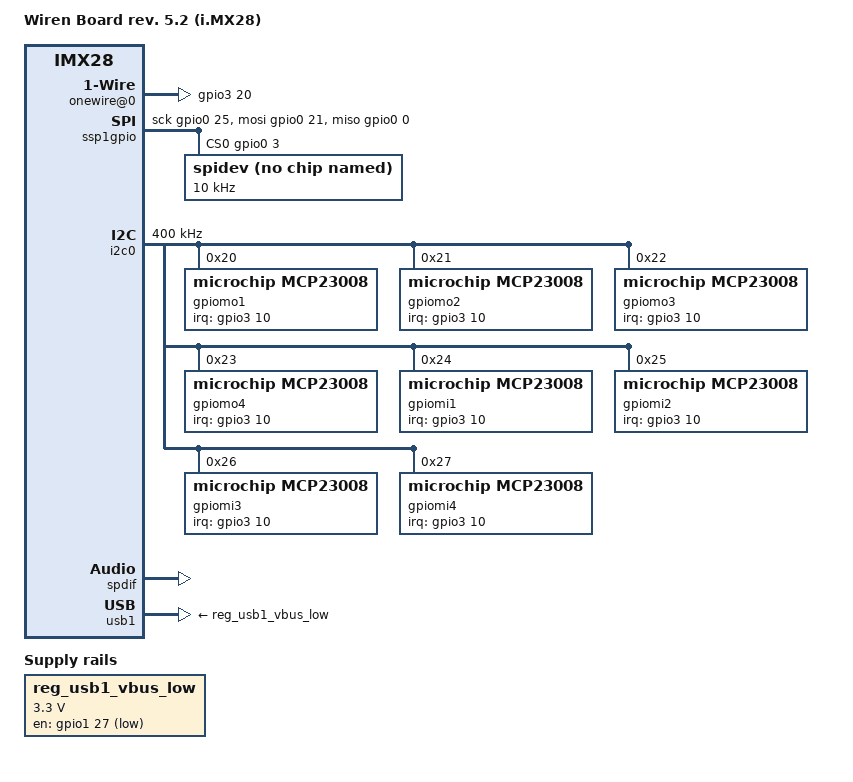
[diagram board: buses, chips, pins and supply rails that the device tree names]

#include <dt-bindings/interrupt-controller/irq.h>
#include "imx28-wirenboard50.dts"

/ {
	model = "Wiren Board rev. 5.2 (i.MX28)";
	compatible = "contactless,imx28-wirenboard52", "contactless,imx28-wirenboard50", "fsl,imx28";


	onewire@0 {
		compatible = "w1-gpio";

		 gpios = <&gpio3 20 0>;
		 pu-gpios = <&gpio3 22 0>;
	};


	apb@80000000 {
		apbh@80000000 {

			pinctrl: pinctrl@80018000 {

				rfm69_irq_pins: rfm69_irq_pins@0 {
					reg = <0>;
					fsl,pinmux-ids = <
						MX28_PAD_LCD_D06__GPIO_1_6
					>;
					fsl,drive-strength = <MXS_DRIVE_8mA>;
					fsl,voltage = <MXS_VOLTAGE_HIGH>;
					fsl,pull-up = <MXS_PULL_ENABLE>;
				};





			};




			ssp1: ssp@80012000 {
				compatible = "fsl,imx28-spi";
				pinctrl-0 = <&ssp1_pins_a
						    >;
				pinctrl-names = "default";

				status = "disabled";

				spidev@0 {
					compatible = "spidev";
					spi-max-frequency = <100000>;
					reg = <0>;
				};

			};


			ssp1gpio {
				compatible = "spi-gpio";
				pinctrl-names = "default";
				pinctrl-0 = <&spi1_pins_a_gpio>;
				status = "okay";
				gpio-sck = <&gpio0 25 0>;
				gpio-mosi = <&gpio0 21 0>;
				gpio-miso = <&gpio0 0 0>;
				cs-gpios = <&gpio0 3 0>;
				num-chipselects = <1>;
				#address-cells = <1>;
				#size-cells = <0>;


				spidev@0 {
					compatible = "spidev";
					spi-max-frequency = <10000>;
					reg = <0>;
				};
			};

/*
			spi2 {
				compatible = "spi-gpio";
				pinctrl-names = "default";
				pinctrl-0 = <&spi2_pins_a_gpio>;
				status = "okay";
				gpio-sck = <&gpio2 16 0>;
				gpio-mosi = <&gpio2 17 0>;
				gpio-miso = <&gpio2 18 0>;
				cs-gpios = <&gpio2 19 0>;
				num-chipselects = <1>;
				#address-cells = <1>;
				#size-cells = <0>;


				spidev@0 {
					compatible = "spidev";
					spi-max-frequency = <100000>;
					reg = <0>;
				};
			};
*/


			ssp2: ssp@80014000 {
				status = "disabled";
			};



		};

		apbx@80040000 {
			i2c0: i2c@80058000 {
				pinctrl-names = "default";
				pinctrl-0 = <&i2c0_pins_a>;
				status = "okay";
				clock-frequency = <400000>;

				gpiomo1: gpio@20 {
				        compatible = "microchip,mcp23008";
				        gpio-controller;
				        #gpio-cells = <2>;
				        reg = <0x20>;

				        interrupt-parent = <&gpio3>;
				        interrupts = <10 IRQ_TYPE_LEVEL_LOW>;
				        interrupt-controller;
				        #interrupt-cells=<2>;

				        linux,gpio-base = <160>;
				};
				gpiomo2: gpio@21 {
				        compatible = "microchip,mcp23008";
				        gpio-controller;
				        #gpio-cells = <2>;
				        reg = <0x21>;

				        interrupt-parent = <&gpio3>;
				        interrupts = <10 IRQ_TYPE_LEVEL_LOW>;
				        interrupt-controller;
				        #interrupt-cells=<2>;

				        linux,gpio-base = <168>;
				};
				gpiomo3: gpio@22 {
				        compatible = "microchip,mcp23008";
				        gpio-controller;
				        #gpio-cells = <2>;
				        reg = <0x22>;

				        interrupt-parent = <&gpio3>;
				        interrupts = <10 IRQ_TYPE_LEVEL_LOW>;
				        interrupt-controller;
				        #interrupt-cells=<2>;

				        linux,gpio-base = <176>;
				};
				gpiomo4: gpio@23 {
				        compatible = "microchip,mcp23008";
				        gpio-controller;
				        #gpio-cells = <2>;
				        reg = <0x23>;

				        interrupt-parent = <&gpio3>;
				        interrupts = <10 IRQ_TYPE_LEVEL_LOW>;
				        interrupt-controller;
				        #interrupt-cells=<2>;

				        linux,gpio-base = <184>;
				};


				/* input extensions modules  */


				gpiomi1: gpio@24 {
				        compatible = "microchip,mcp23008";
				        gpio-controller;
				        #gpio-cells = <2>;
				        reg = <0x24>;

				        interrupt-parent = <&gpio3>;
				        interrupts = <10 IRQ_TYPE_LEVEL_LOW>;
				        interrupt-controller;
				        #interrupt-cells=<2>;

				        linux,gpio-base = <192>;
				};
				gpiomi2: gpio@25 {
				        compatible = "microchip,mcp23008";
				        gpio-controller;
				        #gpio-cells = <2>;
				        reg = <0x25>;

				        interrupt-parent = <&gpio3>;
				        interrupts = <10 IRQ_TYPE_LEVEL_LOW>;
				        interrupt-controller;
				        #interrupt-cells=<2>;

				        linux,gpio-base = <200>;
				};
				gpiomi3: gpio@26 {
				        compatible = "microchip,mcp23008";
				        gpio-controller;
				        #gpio-cells = <2>;
				        reg = <0x26>;

				        interrupt-parent = <&gpio3>;
				        interrupts = <10 IRQ_TYPE_LEVEL_LOW>;
				        interrupt-controller;
				        #interrupt-cells=<2>;

				        linux,gpio-base = <208>;
				};
				gpiomi4: gpio@27 {
				        compatible = "microchip,mcp23008";
				        gpio-controller;
				        #gpio-cells = <2>;
				        reg = <0x27>;

				        interrupt-parent = <&gpio3>;
				        interrupts = <10 IRQ_TYPE_LEVEL_LOW>;
				        interrupt-controller;
				        #interrupt-cells=<2>;

				        linux,gpio-base = <216>;
				};

			};

			spdif: spdif@80054000 {
				pinctrl-names = "default";
				pinctrl-0 = <&spdif_pins>;
				status = "okay";
			};
		};

	};

	regulators {
		compatible = "simple-bus";

		reg_usb1_vbus_low: usb1_vbus_low {
			compatible = "regulator-fixed";
			regulator-name = "usb1_vbus_low";
			regulator-min-microvolt = <3300000>;
			regulator-max-microvolt = <3300000>;
			gpio = <&gpio1 27 0>;
			/* active low */
		};

		reg_usb1_vbus: usb1_vbus {
			status = "disabled";
		};


	};

	ahb@80080000 {
		usb1: usb@80090000 {
			vbus-supply = <&reg_usb1_vbus_low>;
			status = "okay";
		};
	};

	sound-spdif {
		compatible = "fsl,mxs-spdif-audio";
		model = "On-board SPDIF";
		spdif-controller = <&spdif>;
	};
};
